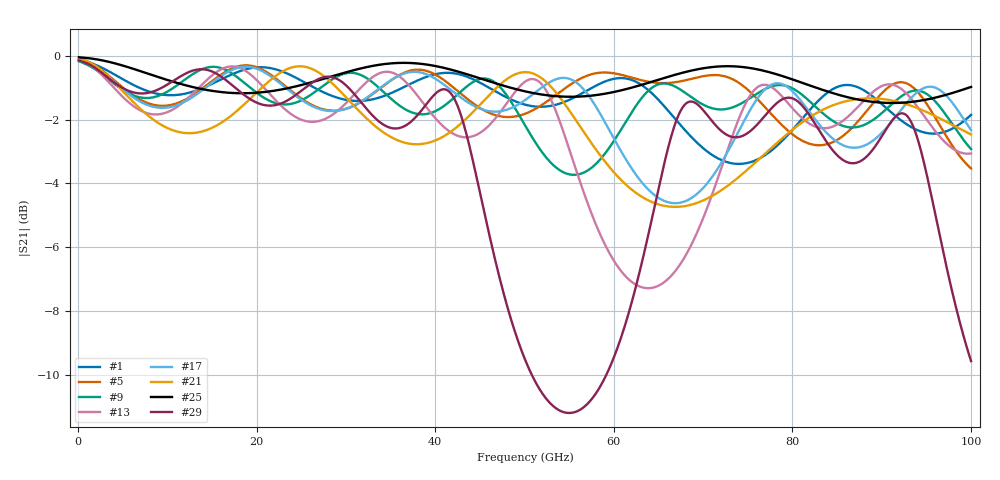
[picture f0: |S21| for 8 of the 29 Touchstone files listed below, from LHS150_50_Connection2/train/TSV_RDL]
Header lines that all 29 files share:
! Touchstone file exported from HFSS 2026.1.0
!  Design:  TSV_RDL
! Variables:
! Terminal data exported
# GHz S MA R 50.000000
Fixed: h_ox = 20um, h_rdl = 5um, h_via = 3um, m_sub = 200um, s_tmrdl = 10um, w_sub = 500um
Also varied, not listed: x_tsv_center2, x_tsv_center3, x_tsv_center4, x_tsv_center5, x_tsv_center6
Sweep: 100 MHz to 100 GHz
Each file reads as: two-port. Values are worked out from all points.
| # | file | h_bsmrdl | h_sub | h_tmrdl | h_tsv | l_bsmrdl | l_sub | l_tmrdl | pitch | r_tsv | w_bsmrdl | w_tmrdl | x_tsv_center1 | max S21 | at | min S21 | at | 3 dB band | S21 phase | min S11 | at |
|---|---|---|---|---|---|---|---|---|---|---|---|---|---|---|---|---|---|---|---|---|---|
| 1 | dut0.s2p | 2.12um | 80.26um | 4.34um | 80.26um | 332.84um | 2706.54um | 296.42um | 40.78um | 6.63um | 23.51um | 17.27um | 305.055um | -0.13 dB | 100 MHz | -3.4 dB | 74 GHz | 100 MHz-71.1 GHz | -58 deg at 50.1 GHz | -35.2 dB | 100 MHz |
| 2 | dut3.s2p | 4.68um | 63.74um | 4.56um | 63.74um | 546.52um | 3657um | 367.01um | 51um | 8.94um | 20.68um | 29.12um | 381.57um | -0.10 dB | 100 MHz | -2.6 dB | 92.4 GHz | 100 MHz-100 GHz | -154 deg at 50.1 GHz | -35.6 dB | 100 MHz |
| 3 | dut4.s2p | 4.98um | 61.45um | 3.52um | 61.45um | 554.47um | 2673.4um | 123.42um | 40.34um | 14.53um | 10.45um | 28.32um | 137.58um | -0.12 dB | 100 MHz | -14.9 dB | 73.2 GHz | 100 MHz-46.6 GHz | -101 deg at 50.1 GHz | -35.8 dB | 100 MHz |
| 4 | dut5.s2p | 4.17um | 77.98um | 4.95um | 77.98um | 243.98um | 3817.72um | 645.54um | 59.27um | 10.22um | 21.37um | 13.17um | 652.125um | -0.16 dB | 100 MHz | -10.6 dB | 56.5 GHz | 100 MHz-35.9 GHz | 123 deg at 50.1 GHz | -31.9 dB | 100 MHz |
| 5 | dut7.s2p | 2.95um | 60.79um | 4.82um | 60.79um | 398.42um | 3323.95um | 392.19um | 59.01um | 12.25um | 24.91um | 28.4um | 406.39um | -0.10 dB | 100 MHz | -3.5 dB | 100 GHz | 100 MHz-98.5 GHz | -106 deg at 50.1 GHz | -36.0 dB | 100 MHz |
| 6 | dut8.s2p | 4.7um | 74.81um | 2.5um | 74.81um | 591.83um | 3478.51um | 300.81um | 55.8um | 7.35um | 19.1um | 14.16um | 307.89um | -0.18 dB | 100 MHz | -4.8 dB | 92.7 GHz | 100 MHz-56.2 GHz | -158 deg at 50.1 GHz | -31.7 dB | 100 MHz |
| 7 | dut9.s2p | 3.1um | 57.25um | 2.12um | 57.25um | 101.83um | 2562.57um | 423.53um | 51.48um | 9.71um | 27.81um | 26.51um | 436.785um | -0.12 dB | 100 MHz | -6.4 dB | 87.8 GHz | 100 MHz-76.5 GHz | -8 deg at 50.1 GHz | -36.1 dB | 23.6 GHz |
| 8 | dut10.s2p | 3.31um | 65.6um | 4.7um | 65.6um | 174.93um | 2871.7um | 461.31um | 40.11um | 9.42um | 11.89um | 22um | 472.31um | -0.11 dB | 100 MHz | -2.3 dB | 93.2 GHz | 100 MHz-100 GHz | -65 deg at 50.1 GHz | -36.4 dB | 100 MHz |
| 9 | dut11.s2p | 4.92um | 79.44um | 2.14um | 79.44um | 180.99um | 3754.28um | 670.18um | 52.59um | 11.92um | 15.52um | 28.01um | 684.185um | -0.17 dB | 100 MHz | -3.7 dB | 55.5 GHz | 100 MHz-52.3 GHz | 142 deg at 50.1 GHz | -35.2 dB | 15.4 GHz |
| 10 | dut12.s2p | 2.25um | 75.77um | 2.56um | 75.77um | 585.73um | 5000.6um | 676um | 53.32um | 9.97um | 25.25um | 21.22um | 686.61um | -0.26 dB | 100 MHz | -9.7 dB | 81.5 GHz | 100 MHz-38.9 GHz | -15 deg at 50.1 GHz | -32.2 dB | 11.8 GHz |
| 11 | dut13.s2p | 4.47um | 82.31um | 2.99um | 82.31um | 318.54um | 2798.97um | 323.81um | 59.9um | 6.9um | 26.57um | 22.8um | 335.21um | -0.10 dB | 100 MHz | -4.4 dB | 72.9 GHz | 100 MHz-67.2 GHz | -68 deg at 50.1 GHz | -35.6 dB | 100 MHz |
| 12 | dut14.s2p | 3.55um | 66.69um | 4.76um | 66.69um | 559.45um | 3080.46um | 211.04um | 46.63um | 7.71um | 23.74um | 28.91um | 225.495um | -0.10 dB | 100 MHz | -2.4 dB | 54.8 GHz | 100 MHz-100 GHz | -89 deg at 50.1 GHz | -36.9 dB | 100 MHz |
| 13 | dut16.s2p | 4.18um | 89.95um | 3.23um | 89.95um | 190.87um | 3177.1um | 521.91um | 56.67um | 10.28um | 18.7um | 20.25um | 532.035um | -0.13 dB | 100 MHz | -7.3 dB | 63.8 GHz | 100 MHz-55.2 GHz | -141 deg at 50.1 GHz | -33.9 dB | 100 MHz |
| 14 | dut18.s2p | 3.61um | 52.34um | 2.27um | 52.34um | 534.75um | 4579.17um | 622.82um | 56.07um | 10.74um | 17.87um | 10.01um | 627.825um | -0.41 dB | 100 MHz | -12.1 dB | 92.8 GHz | 100 MHz-18.9 GHz | 88 deg at 50.1 GHz | -28.0 dB | 13.2 GHz |
| 15 | dut19.s2p | 3.38um | 69.42um | 3.55um | 69.42um | 650.48um | 3323.15um | 217.39um | 44.78um | 8.32um | 19.36um | 14.69um | 224.735um | -0.16 dB | 100 MHz | -3.3 dB | 96.3 GHz | 100 MHz-94.7 GHz | -124 deg at 50.1 GHz | -33.3 dB | 100 MHz |
| 16 | dut20.s2p | 2.57um | 81.33um | 4.13um | 81.33um | 306.99um | 2816.69um | 343.48um | 58.6um | 7.21um | 18.66um | 21.94um | 354.45um | -0.12 dB | 100 MHz | -3.3 dB | 91.8 GHz | 100 MHz-89.5 GHz | -70 deg at 50.1 GHz | -34.5 dB | 100 MHz |
| 17 | dut21.s2p | 4.35um | 71.63um | 4.27um | 71.63um | 635.27um | 3065.11um | 161.28um | 51.78um | 6.22um | 27.09um | 10.97um | 166.765um | -0.11 dB | 100 MHz | -4.6 dB | 66.9 GHz | 100 MHz-61 GHz | -95 deg at 50.1 GHz | -35.2 dB | 100 MHz |
| 18 | dut22.s2p | 3.5um | 54.1um | 3.3um | 54.1um | 439.8um | 4315.25um | 631.12um | 59.19um | 5.63um | 11.46um | 12.33um | 637.285um | -0.30 dB | 100 MHz | -7.7 dB | 98.9 GHz | 9.3 GHz-20 GHz | 113 deg at 50.1 GHz | -27.6 dB | 100 MHz |
| 19 | dut24.s2p | 2.73um | 63.64um | 3.8um | 63.64um | 696.46um | 4416.68um | 459.31um | 51.29um | 6.51um | 12.43um | 17.59um | 468.105um | -0.29 dB | 100 MHz | -8.3 dB | 93.1 GHz | 100 MHz-34.5 GHz | 90 deg at 50.1 GHz | -30.3 dB | 52.8 GHz |
| 20 | dut26.s2p | 3.65um | 91.32um | 4.31um | 91.32um | 164.71um | 3559.26um | 639.53um | 48.45um | 14.66um | 11.61um | 24.06um | 651.56um | -0.12 dB | 100 MHz | -7.4 dB | 100 GHz | 100 MHz-48.2 GHz | 130 deg at 50.1 GHz | -36.5 dB | 14.7 GHz |
| 21 | dut28.s2p | 3.68um | 68.96um | 4.35um | 68.96um | 482.46um | 2393.59um | 113.37um | 58.72um | 10.47um | 14.58um | 16.33um | 121.535um | -0.11 dB | 100 MHz | -4.7 dB | 66.9 GHz | 100 MHz-58.4 GHz | 2 deg at 50.1 GHz | -35.4 dB | 100 MHz |
| 22 | dut29.s2p | 2.49um | 77.04um | 2.17um | 77.04um | 573.72um | 3067.24um | 207.15um | 46.09um | 7.53um | 23.24um | 15.92um | 215.11um | -0.18 dB | 100 MHz | -3.5 dB | 100 GHz | 100 MHz-98.4 GHz | -103 deg at 50.1 GHz | -33.4 dB | 18.6 GHz |
| 23 | dut30.s2p | 4.41um | 66.47um | 3.81um | 66.47um | 275.13um | 2781.2um | 350.56um | 53.36um | 6.17um | 28.86um | 22.33um | 361.725um | -0.09 dB | 100 MHz | -5.5 dB | 77.7 GHz | 100 MHz-69.2 GHz | -49 deg at 50.1 GHz | -36.8 dB | 100 MHz |
| 24 | dut32.s2p | 4.23um | 95.53um | 3.39um | 95.53um | 645.23um | 3647.72um | 287.71um | 55.62um | 5.39um | 24.39um | 29.34um | 302.38um | -0.13 dB | 100 MHz | -2.6 dB | 100 GHz | 100 MHz-100 GHz | 163 deg at 50.1 GHz | -34.0 dB | 100 MHz |
| 25 | dut33.s2p | 3.25um | 72.94um | 4.47um | 72.94um | 161.9um | 1548.3um | 127.64um | 55.48um | 9.17um | 26.86um | 23.82um | 139.55um | -0.05 dB | 100 MHz | -1.5 dB | 91.2 GHz | 100 MHz-100 GHz | 122 deg at 50.1 GHz | -42.7 dB | 100 MHz |
| 26 | dut36.s2p | 4.56um | 66.01um | 4.58um | 66.01um | 656.96um | 3467.94um | 236.39um | 50.47um | 11.64um | 23.4um | 27.1um | 249.94um | -0.09 dB | 100 MHz | -2.4 dB | 47.7 GHz | 100 MHz-100 GHz | -135 deg at 50.1 GHz | -36.5 dB | 100 MHz |
| 27 | dut37.s2p | 2.51um | 65.69um | 3.19um | 65.69um | 619.38um | 4356.45um | 488.39um | 59.78um | 8.84um | 21.69um | 26.56um | 501.67um | -0.19 dB | 100 MHz | -8.3 dB | 94.7 GHz | 100 MHz-75.5 GHz | 96 deg at 50.1 GHz | -32.3 dB | 14.4 GHz |
| 28 | dut38.s2p | 2.47um | 84.33um | 2.58um | 84.33um | 666.16um | 3493.04um | 240.85um | 44.61um | 6.58um | 14.47um | 29.25um | 255.475um | -0.23 dB | 100 MHz | -6.0 dB | 48.4 GHz | 100 MHz-39.6 GHz | -165 deg at 50.1 GHz | -30.8 dB | 17 GHz |
| 29 | dut39.s2p | 4.86um | 61.82um | 4.38um | 61.82um | 387.14um | 3913.19um | 558.43um | 41.02um | 12.58um | 25.05um | 14.3um | 565.58um | -0.15 dB | 100 MHz | -11.2 dB | 55 GHz | 100 MHz-44 GHz | 121 deg at 50.1 GHz | -34.5 dB | 14.1 GHz |
